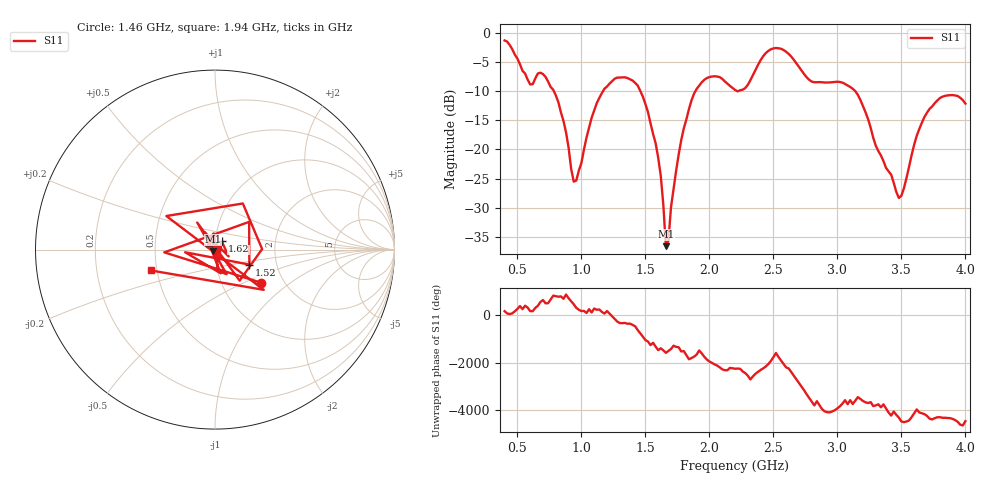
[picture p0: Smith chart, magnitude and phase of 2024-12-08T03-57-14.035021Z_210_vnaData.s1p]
!Created with skrf (http://scikit-rf.org).
# Hz S RI R 50.0
!freq ReS11 ImS11
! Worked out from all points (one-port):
!   181 points, 400 MHz to 4 GHz, reference 50 ohm
!   lowest |S11| = -36.6 dB at 1.66 GHz (marker M1), VSWR 1.03, Z = 48.9 - j0.932 ohm
!   |S11| at or under -10 dB: 784.4 MHz to 1.169 GHz (384.8 MHz wide, 39.4 % of centre); 1.46 GHz to 1.891 GHz (430.8 MHz wide, 25.7 % of centre); 3.139 GHz to end of sweep (the widest 3 of 4)
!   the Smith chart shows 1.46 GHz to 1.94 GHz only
!   S11 on the Smith chart (normalised r, x): 1.46 GHz: 1.54, -0.63; 1.52 GHz: 1.45, -0.25; 1.62 GHz: 1.07, +0.10; 1.94 GHz: 0.46, -0.13
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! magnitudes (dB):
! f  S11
! 400 MHz  -1.3
! 600 MHz  -8.9
! 720 MHz  -7.6
! 860 MHz  -15.1
! 940 MHz  -25.5
! 960 MHz  -25.3
! 1.12 GHz  -12.1
! 1.3 GHz  -7.7
! 1.46 GHz  -10.0
! 1.52 GHz  -13.6
! 1.62 GHz  -24.5
! 1.66 GHz  -36.6
! 1.68 GHz  -35.6
! 1.7 GHz  -29.9
! 1.76 GHz  -20.9
! 1.86 GHz  -11.6
! 1.94 GHz  -8.5
! 2.2 GHz  -9.8
! 2.48 GHz  -2.8
! 2.66 GHz  -4.7
! 2.8 GHz  -8.4
! 3.1 GHz  -9.3
! 3.18 GHz  -11.5
! 3.48 GHz  -28.3
! 3.56 GHz  -23.0
! 3.72 GHz  -13.1
! 3.86 GHz  -10.8
! 4 GHz  -12.2
